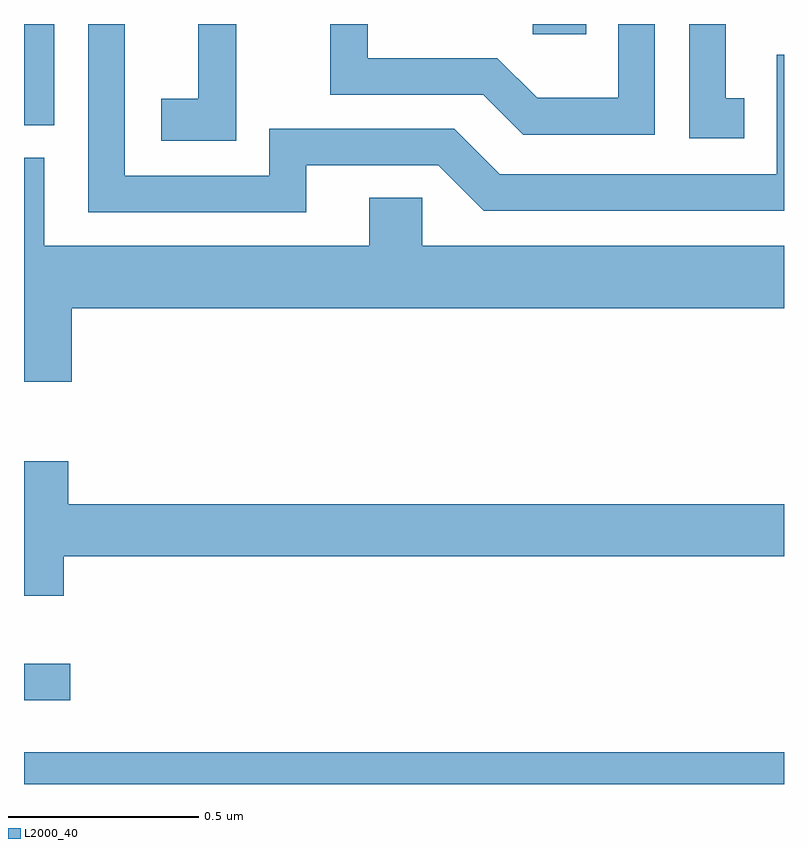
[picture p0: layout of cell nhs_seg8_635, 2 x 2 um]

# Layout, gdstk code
import gdstk
lib = gdstk.Library(unit=1e-6, precision=1e-09)
def R(c, l, rs):  # rectangles x0, y0, x1, y1
    for r in rs: c.add(gdstk.rectangle(r[:2], r[2:], *l))
def P(c, l, *ps):  # polygons
    for p in ps: c.add(gdstk.Polygon(p, *l))
L2000_40 = (2000, 40)

nhs_seg8_635 = lib.new_cell('nhs_seg8_635')
R(nhs_seg8_635, L2000_40, [(119,1129.9,121,1129.984), (119,1130.12,119.122,1130.217), (119,1131.633,119.079,1131.9), (120.339,1131.873,120.479,1131.9)])
P(nhs_seg8_635, L2000_40, [(119.743,1131.528),(120.09,1131.528),(120.21,1131.408),(121,1131.408),(121,1131.819),(120.981,1131.819),(120.981,1131.504),(120.252,1131.504),(120.132,1131.624),(119.646,1131.624),(119.646,1131.501),(119.265,1131.501),(119.265,1131.9),(119.169,1131.9),(119.169,1131.405),(119.743,1131.405)],
  [(120.66,1131.9),(120.564,1131.9),(120.564,1131.706),(120.35,1131.706),(120.246,1131.81),(119.904,1131.81),(119.904,1131.9),(119.757,1131.9),(119.757,1131.899),(119.806,1131.899),(119.806,1131.714),(120.209,1131.714),(120.314,1131.609),(120.66,1131.609)],
  [(119.559,1131.799),(119.558,1131.799),(119.558,1131.9),(119.459,1131.9),(119.459,1131.703),(119.361,1131.703),(119.361,1131.593),(119.559,1131.593)],
  [(120.896,1131.705),(120.847,1131.705),(120.847,1131.9),(120.75,1131.9),(120.75,1131.6),(120.896,1131.6)],
  [(119.126,1131.152),(121,1131.152),(121,1131.316),(120.048,1131.316),(120.048,1131.443),(119.909,1131.443),(119.909,1131.316),(119.053,1131.316),(119.053,1131.548),(119,1131.548),(119,1130.958),(119.126,1130.958)],
  [(119.104,1130.5),(121,1130.5),(121,1130.636),(119.117,1130.636),(119.117,1130.749),(119,1130.749),(119,1130.396),(119.104,1130.396)])

lib.write_gds('nhs_seg8_635.gds')
